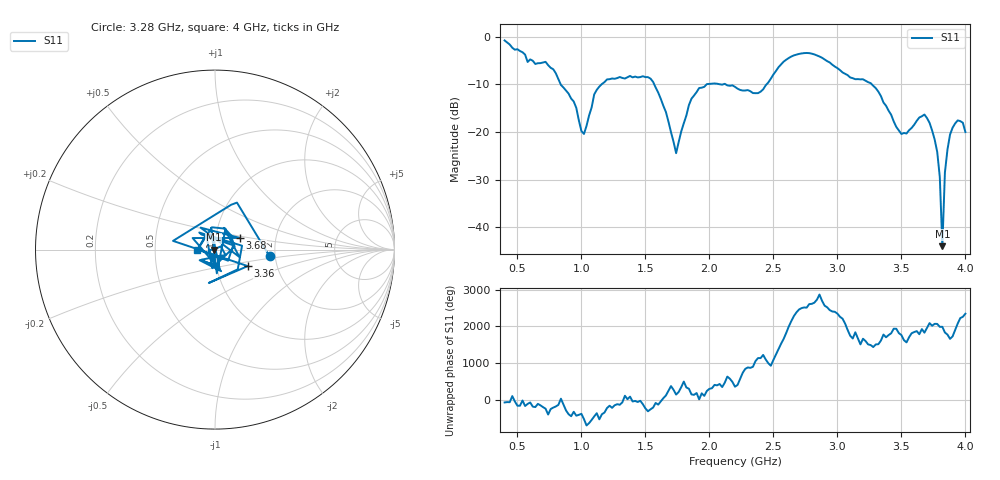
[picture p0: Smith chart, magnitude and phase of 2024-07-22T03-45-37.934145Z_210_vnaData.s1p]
!Created with skrf (http://scikit-rf.org).
# Hz S RI R 50.0
!freq ReS11 ImS11
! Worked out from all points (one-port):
!   181 points, 400 MHz to 4 GHz, reference 50 ohm
!   lowest |S11| = -43.9 dB at 3.82 GHz (marker M1), VSWR 1.01, Z = 49.4 - j0.0535 ohm
!   |S11| at or under -10 dB: 838.4 MHz to 1.157 GHz (318.3 MHz wide, 31.9 % of centre); 1.569 GHz to 1.978 GHz (408.3 MHz wide, 23 % of centre); 3.27 GHz to end of sweep (the widest 3 of 5)
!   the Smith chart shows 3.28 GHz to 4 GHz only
!   S11 on the Smith chart (normalised r, x): 3.28 GHz: 1.87, -0.15; 3.36 GHz: 1.42, -0.27; 3.68 GHz: 1.31, +0.17; 4 GHz: 0.82, -0.01
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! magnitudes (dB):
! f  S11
! 400 MHz  -0.8
! 720 MHz  -5.3
! 860 MHz  -10.7
! 1.02 GHz  -20.4
! 1.12 GHz  -11.1
! 1.3 GHz  -8.4
! 1.54 GHz  -8.8
! 1.66 GHz  -15.8
! 1.74 GHz  -24.4
! 1.76 GHz  -22.1
! 1.84 GHz  -14.3
! 1.92 GHz  -10.7
! 2.2 GHz  -10.5
! 2.38 GHz  -11.8
! 2.66 GHz  -3.9
! 3.1 GHz  -8.5
! 3.28 GHz  -10.3
! 3.36 GHz  -13.8
! 3.5 GHz  -20.4
! 3.56 GHz  -19.6
! 3.68 GHz  -16.3
! 3.78 GHz  -24.2
! 3.8 GHz  -29.4
! 3.82 GHz  -43.9
! 3.84 GHz  -28.5
! 3.88 GHz  -20.5
! 3.94 GHz  -17.5
! 4 GHz  -20.0
